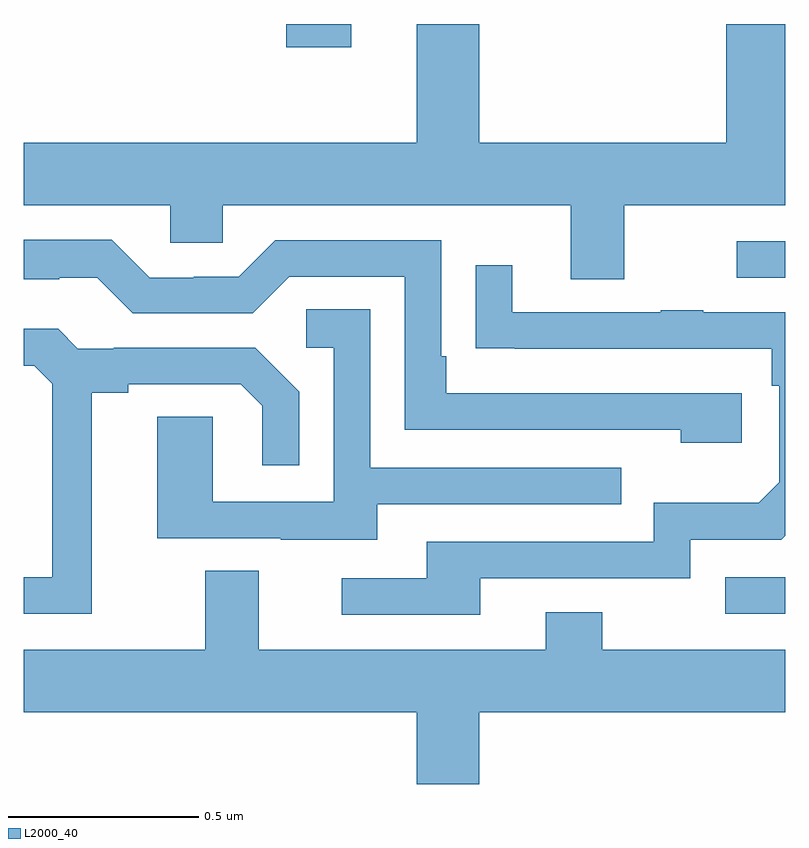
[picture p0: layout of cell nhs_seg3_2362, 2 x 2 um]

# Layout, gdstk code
import gdstk
lib = gdstk.Library(unit=1e-6, precision=1e-09)
def R(c, l, rs):  # rectangles x0, y0, x1, y1
    for r in rs: c.add(gdstk.rectangle(r[:2], r[2:], *l))
def P(c, l, *ps):  # polygons
    for p in ps: c.add(gdstk.Polygon(p, *l))
L2000_40 = (2000, 40)

nhs_seg3_2362 = lib.new_cell('nhs_seg3_2362')
R(nhs_seg3_2362, L2000_40, [(141.843,691.851,142,691.947), (141.873,692.733,142,692.829), (140.69,693.339,140.86,693.4)])
P(nhs_seg3_2362, L2000_40, [(142,693.4),(141.845,693.4),(141.845,693.088),(141.196,693.088),(141.196,693.4),(141.032,693.4),(141.032,693.088),(140,693.088),(140,692.924),(140.385,692.924),(140.385,692.826),(140.523,692.826),(140.523,692.924),(141.437,692.924),(141.437,692.73),(141.577,692.73),(141.577,692.924),(142,692.924)],
  [(141.886,692.43),(141.109,692.43),(141.109,692.527),(141.096,692.527),(141.096,692.832),(140.661,692.832),(140.565,692.736),(140.447,692.736),(140.447,692.733),(140.331,692.733),(140.231,692.833),(140,692.833),(140,692.729),(140.093,692.729),(140.093,692.733),(140.193,692.733),(140.286,692.64),(140.601,692.64),(140.697,692.736),(141,692.736),(141,692.334),(141.725,692.334),(141.725,692.3),(141.886,692.3)],
  [(141.199,691.944),(141.75,691.944),(141.75,692.046),(141.99,692.046),(142,692.056),(142,692.643),(141.785,692.643),(141.785,692.648),(141.673,692.648),(141.673,692.643),(141.283,692.643),(141.283,692.767),(141.187,692.767),(141.187,692.548),(141.289,692.548),(141.289,692.547),(141.964,692.547),(141.964,692.45),(141.984,692.45),(141.984,692.196),(141.931,692.143),(141.654,692.143),(141.654,692.04),(141.059,692.04),(141.059,691.944),(140.835,691.944),(140.835,691.848),(141.199,691.848)],
  [(140.929,692.139),(141.569,692.139),(141.569,692.235),(140.91,692.235),(140.91,692.651),(140.742,692.651),(140.742,692.55),(140.814,692.55),(140.814,692.145),(140.496,692.145),(140.496,692.369),(140.351,692.369),(140.351,692.049),(140.675,692.049),(140.675,692.045),(140.929,692.045)],
  [(140.179,692.432),(140.275,692.432),(140.275,692.454),(140.57,692.454),(140.627,692.397),(140.627,692.241),(140.724,692.241),(140.724,692.434),(140.608,692.55),(140.236,692.55),(140.236,692.547),(140.142,692.547),(140.09,692.599),(140,692.599),(140,692.502),(140.028,692.502),(140.075,692.455),(140.075,691.947),(140,691.947),(140,691.851),(140.179,691.851)],
  [(141.196,691.592),(142,691.592),(142,691.756),(141.519,691.756),(141.519,691.855),(141.371,691.855),(141.371,691.756),(140.617,691.756),(140.617,691.964),(140.477,691.964),(140.477,691.756),(140,691.756),(140,691.592),(141.032,691.592),(141.032,691.404),(141.196,691.404)])

lib.write_gds('nhs_seg3_2362.gds')
